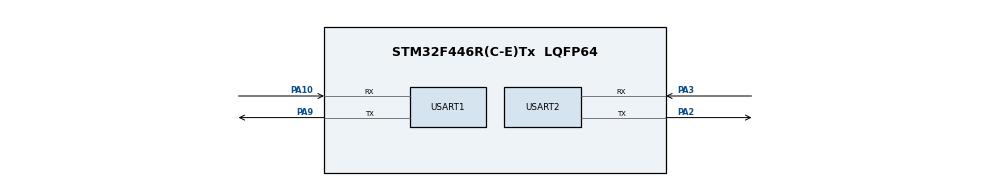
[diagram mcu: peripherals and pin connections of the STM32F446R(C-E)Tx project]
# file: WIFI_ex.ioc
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Dma.Request0=USART2_RX
Dma.Request1=USART2_TX
Dma.Request2=USART1_RX
Dma.Request3=USART1_TX
Dma.USART1_RX.2.Direction=DMA_PERIPH_TO_MEMORY
Dma.USART1_RX.2.FIFOMode=DMA_FIFOMODE_DISABLE
Dma.USART1_RX.2.Instance=DMA2_Stream2
Dma.USART1_RX.2.MemDataAlignment=DMA_MDATAALIGN_BYTE
Dma.USART1_RX.2.MemInc=DMA_MINC_ENABLE
Dma.USART1_RX.2.Mode=DMA_NORMAL
Dma.USART1_RX.2.PeriphDataAlignment=DMA_PDATAALIGN_BYTE
Dma.USART1_RX.2.PeriphInc=DMA_PINC_DISABLE
Dma.USART1_RX.2.Priority=DMA_PRIORITY_LOW
Dma.USART1_TX.3.Direction=DMA_MEMORY_TO_PERIPH
Dma.USART1_TX.3.FIFOMode=DMA_FIFOMODE_DISABLE
Dma.USART1_TX.3.Instance=DMA2_Stream7
Dma.USART1_TX.3.MemDataAlignment=DMA_MDATAALIGN_BYTE
Dma.USART1_TX.3.MemInc=DMA_MINC_ENABLE
Dma.USART1_TX.3.Mode=DMA_NORMAL
Dma.USART1_TX.3.PeriphDataAlignment=DMA_PDATAALIGN_BYTE
Dma.USART1_TX.3.PeriphInc=DMA_PINC_DISABLE
Dma.USART1_TX.3.Priority=DMA_PRIORITY_LOW
Dma.USART2_RX.0.Direction=DMA_PERIPH_TO_MEMORY
Dma.USART2_RX.0.FIFOMode=DMA_FIFOMODE_DISABLE
Dma.USART2_RX.0.Instance=DMA1_Stream5
Dma.USART2_RX.0.MemDataAlignment=DMA_MDATAALIGN_BYTE
Dma.USART2_RX.0.MemInc=DMA_MINC_ENABLE
Dma.USART2_RX.0.Mode=DMA_CIRCULAR
Dma.USART2_RX.0.PeriphDataAlignment=DMA_PDATAALIGN_BYTE
Dma.USART2_RX.0.PeriphInc=DMA_PINC_DISABLE
Dma.USART2_RX.0.Priority=DMA_PRIORITY_LOW
Dma.USART2_TX.1.Direction=DMA_MEMORY_TO_PERIPH
Dma.USART2_TX.1.FIFOMode=DMA_FIFOMODE_DISABLE
Dma.USART2_TX.1.Instance=DMA1_Stream6
Dma.USART2_TX.1.MemDataAlignment=DMA_MDATAALIGN_BYTE
Dma.USART2_TX.1.MemInc=DMA_MINC_ENABLE
Dma.USART2_TX.1.Mode=DMA_NORMAL
Dma.USART2_TX.1.PeriphDataAlignment=DMA_PDATAALIGN_BYTE
Dma.USART2_TX.1.PeriphInc=DMA_PINC_DISABLE
Dma.USART2_TX.1.Priority=DMA_PRIORITY_LOW
Mcu.Family=STM32F4
Mcu.Name=STM32F446R(C-E)Tx
Mcu.Package=LQFP64
NVIC.DMA1_Stream5_IRQn=true\:0\:0\:false\:false\:true\:false\:true\:true
NVIC.DMA1_Stream6_IRQn=true\:0\:0\:false\:false\:true\:false\:true\:true
NVIC.DMA2_Stream2_IRQn=true\:0\:0\:false\:false\:true\:false\:true\:true
NVIC.DMA2_Stream7_IRQn=true\:0\:0\:false\:false\:true\:false\:true\:true
NVIC.PriorityGroup=NVIC_PRIORITYGROUP_4
NVIC.USART1_IRQn=true\:0\:0\:false\:false\:true\:false\:true\:true
NVIC.USART2_IRQn=true\:0\:0\:false\:false\:true\:false\:true\:true
PA10.Mode=Asynchronous
PA10.Signal=USART1_RX
PA2.Mode=Asynchronous
PA2.Signal=USART2_TX
PA3.Mode=Asynchronous
PA3.Signal=USART2_RX
PA9.Mode=Asynchronous
PA9.Signal=USART1_TX
ProjectManager.HeapSize=0x200
ProjectManager.StackSize=0x400
ProjectManager.TargetToolchain=CMake
RCC.CortexFreq_Value=16000000
RCC.USBFreq_Value=96000000
RCC.VCOOutputFreq_Value=192000000
USART1.VirtualMode=VM_ASYNC
USART2.VirtualMode=VM_ASYNC
board=custom

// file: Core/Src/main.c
/* USER CODE BEGIN Header */
/**
 ******************************************************************************
 * @file           : main.c
 * @brief          : Main program body
 ******************************************************************************
 * @attention
 *
 * Copyright (c) 2025 STMicroelectronics.
 * All rights reserved.
 *
 * This software is licensed under terms that can be found in the LICENSE file
 * in the root directory of this software component.
 * If no LICENSE file comes with this software, it is provided AS-IS.
 *
 ******************************************************************************
 */
/* USER CODE END Header */
#include "main.h"

/* USER CODE BEGIN Includes */
#include <stdarg.h>
#include <stdio.h>
#include <string.h>

#include "wifi.h"
/* USER CODE END Includes */

/* USER CODE BEGIN PD */
#define MSG_SIZE 512
/* USER CODE END PD */

UART_HandleTypeDef huart1;
UART_HandleTypeDef huart2;
DMA_HandleTypeDef hdma_usart1_rx;
DMA_HandleTypeDef hdma_usart1_tx;
DMA_HandleTypeDef hdma_usart2_rx;
DMA_HandleTypeDef hdma_usart2_tx;

/* USER CODE BEGIN PV */
uint8_t buffer[MAX_COMMAND_LEN];
uint8_t user_msg[MAX_COMMAND_LEN];
uint8_t esp8266_msg[MAX_COMMAND_LEN];
int len;
int pos;
WIFI_HandleTypeDef wifi;
/* USER CODE END PV */

void SystemClock_Config(void);
static void MX_GPIO_Init(void);
static void MX_DMA_Init(void);
static void MX_USART1_UART_Init(void);
static void MX_USART2_UART_Init(void);
/* USER CODE BEGIN PFP */

void HAL_UARTEx_RxEventCallback(UART_HandleTypeDef *huart, uint16_t Size) {
  if (huart->Instance == USART1) {
    // at 커맨드 응답 완료
    // esp8266의 응답 결과를 가공하여 그대로 사용자에게 전송
    if (huart->RxEventType == HAL_UART_RXEVENT_IDLE) {
      // DMA가 모든 응답을 받아왔을 때에 처리
      wifi.responseLen = Size;
      WIFI_ProcessRx(&wifi);
      HAL_UART_Transmit_DMA(&huart2, wifi.response, Size);
    }
  } else if (huart->Instance == USART2) {
    // 사용자 입력 완료
    // 사용자의 입력 결과를 가공하여 esp에게 전송
    strcpy(user_msg, &buffer[pos]);
    len = strlen(user_msg);
    memset(buffer, 0, MAX_COMMAND_LEN);

    HAL_UART_Transmit_DMA(&huart1, user_msg, len);
    pos = (pos + len) % MAX_COMMAND_LEN;

    // esp의 응답 기다리기
    HAL_UARTEx_ReceiveToIdle_DMA(&huart1, wifi.response, MAX_COMMAND_LEN);
  }
}

/* USER CODE END PFP */

int main(void) {

  /* MCU Configuration--------------------------------------------------------*/

  /* Reset of all peripherals, Initializes the Flash interface and the Systick.
   */
  HAL_Init();

  /* Configure the system clock */
  SystemClock_Config();

  /* Initialize all configured peripherals */
  MX_GPIO_Init();
  MX_DMA_Init();
  MX_USART1_UART_Init();
  MX_USART2_UART_Init();
  /* USER CODE BEGIN 2 */
  HAL_UARTEx_ReceiveToIdle_DMA(&huart2, buffer, MAX_COMMAND_LEN);
  __HAL_DMA_DISABLE_IT(&hdma_usart2_rx, DMA_IT_HT);
  __HAL_DMA_DISABLE_IT(&hdma_usart2_tx, DMA_IT_HT);

  Arg AT_CWMODE_CUR_arg = I(1);
  WIFI_ATCommandSignatureTypeDef commandQueue[4] = {
      {AT, 0, NULL},
      {ATE0, 0, NULL},
      {AT_CWLAP, 0, NULL},
      {AT_CWMODE_CUR, 1, &AT_CWMODE_CUR_arg}};

  WIFI_Init(&wifi, &huart1, 5000, commandQueue, 4);
  HAL_Delay(1000);
  /* USER CODE END 2 */

  /* Infinite loop */
  while (1) {

    /* USER CODE BEGIN 3 */
    WIFI_Tick(&wifi);
  }
  /* USER CODE END 3 */
}

void SystemClock_Config(void) {
  RCC_OscInitTypeDef RCC_OscInitStruct = {0};
  RCC_ClkInitTypeDef RCC_ClkInitStruct = {0};

  /** Configure the main internal regulator output voltage
   */
  __HAL_RCC_PWR_CLK_ENABLE();
  __HAL_PWR_VOLTAGESCALING_CONFIG(PWR_REGULATOR_VOLTAGE_SCALE3);

  /** Initializes the RCC Oscillators according to the specified parameters
   * in the RCC_OscInitTypeDef structure.
   */
  RCC_OscInitStruct.OscillatorType = RCC_OSCILLATORTYPE_HSI;
  RCC_OscInitStruct.HSIState = RCC_HSI_ON;
  RCC_OscInitStruct.HSICalibrationValue = RCC_HSICALIBRATION_DEFAULT;
  RCC_OscInitStruct.PLL.PLLState = RCC_PLL_NONE;
  if (HAL_RCC_OscConfig(&RCC_OscInitStruct) != HAL_OK) {
    Error_Handler();
  }

  /** Initializes the CPU, AHB and APB buses clocks
   */
  RCC_ClkInitStruct.ClockType = RCC_CLOCKTYPE_HCLK | RCC_CLOCKTYPE_SYSCLK |
                                RCC_CLOCKTYPE_PCLK1 | RCC_CLOCKTYPE_PCLK2;
  RCC_ClkInitStruct.SYSCLKSource = RCC_SYSCLKSOURCE_HSI;
  RCC_ClkInitStruct.AHBCLKDivider = RCC_SYSCLK_DIV1;
  RCC_ClkInitStruct.APB1CLKDivider = RCC_HCLK_DIV1;
  RCC_ClkInitStruct.APB2CLKDivider = RCC_HCLK_DIV1;

  if (HAL_RCC_ClockConfig(&RCC_ClkInitStruct, FLASH_LATENCY_0) != HAL_OK) {
    Error_Handler();
  }
}

static void MX_USART1_UART_Init(void) {

  huart1.Instance = USART1;
  huart1.Init.BaudRate = 115200;
  huart1.Init.WordLength = UART_WORDLENGTH_8B;
  huart1.Init.StopBits = UART_STOPBITS_1;
  huart1.Init.Parity = UART_PARITY_NONE;
  huart1.Init.Mode = UART_MODE_TX_RX;
  huart1.Init.HwFlowCtl = UART_HWCONTROL_NONE;
  huart1.Init.OverSampling = UART_OVERSAMPLING_16;
  if (HAL_UART_Init(&huart1) != HAL_OK) {
    Error_Handler();
  }
}

static void MX_USART2_UART_Init(void) {

  huart2.Instance = USART2;
  huart2.Init.BaudRate = 115200;
  huart2.Init.WordLength = UART_WORDLENGTH_8B;
  huart2.Init.StopBits = UART_STOPBITS_1;
  huart2.Init.Parity = UART_PARITY_NONE;
  huart2.Init.Mode = UART_MODE_TX_RX;
  huart2.Init.HwFlowCtl = UART_HWCONTROL_NONE;
  huart2.Init.OverSampling = UART_OVERSAMPLING_16;
  if (HAL_UART_Init(&huart2) != HAL_OK) {
    Error_Handler();
  }
}

static void MX_DMA_Init(void) {
  /* DMA controller clock enable */
  __HAL_RCC_DMA1_CLK_ENABLE();
  __HAL_RCC_DMA2_CLK_ENABLE();

  /* DMA interrupt init */
  /* DMA1_Stream5_IRQn interrupt configuration */
  HAL_NVIC_SetPriority(DMA1_Stream5_IRQn, 0, 0);
  HAL_NVIC_EnableIRQ(DMA1_Stream5_IRQn);
  /* DMA1_Stream6_IRQn interrupt configuration */
  HAL_NVIC_SetPriority(DMA1_Stream6_IRQn, 0, 0);
  HAL_NVIC_EnableIRQ(DMA1_Stream6_IRQn);
  /* DMA2_Stream2_IRQn interrupt configuration */
  HAL_NVIC_SetPriority(DMA2_Stream2_IRQn, 0, 0);
  HAL_NVIC_EnableIRQ(DMA2_Stream2_IRQn);
  /* DMA2_Stream7_IRQn interrupt configuration */
  HAL_NVIC_SetPriority(DMA2_Stream7_IRQn, 0, 0);
  HAL_NVIC_EnableIRQ(DMA2_Stream7_IRQn);
}

static void MX_GPIO_Init(void) {

  /* GPIO Ports Clock Enable */
  __HAL_RCC_GPIOA_CLK_ENABLE();

}

void Error_Handler(void) {
  __disable_irq();
  while (1) {
  }
}

#ifdef USE_FULL_ASSERT
/**
 * @brief  Reports the name of the source file and the source line number
 *         where the assert_param error has occurred.
 * @param  file: pointer to the source file name
 * @param  line: assert_param error line source number
 * @retval None
 */
void assert_failed(uint8_t *file, uint32_t line) {
  /* USER CODE BEGIN 6 */
  /* User can add his own implementation to report the file name and line
     number, ex: printf("Wrong parameters value: file %s on line %d\r\n", file,
     line) */
  /* USER CODE END 6 */
}
#endif /* USE_FULL_ASSERT */
